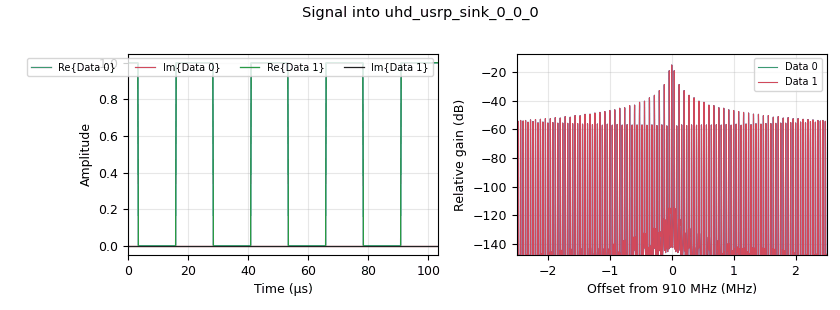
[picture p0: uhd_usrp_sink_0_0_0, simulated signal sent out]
<?xml version='1.0' encoding='utf-8'?>
<?grc format='1' created='3.7.9'?>
<flow_graph>
<block>
<key>options</key>
<param><key>id</key><value>top_block</value></param>
<param><key>category</key><value>Custom</value></param>
<param><key>generate_options</key><value>qt_gui</value></param>
</block>
<block>
<key>variable</key>
<param><key>id</key><value>adc_rate</value></param>
<param><key>value</key><value>10e6</value></param>
</block>
<block>
<key>variable</key>
<param><key>id</key><value>dac_rate</value></param>
<param><key>value</key><value>5e6</value></param>
</block>
<block>
<key>variable</key>
<param><key>id</key><value>samp_rate</value></param>
<param><key>value</key><value>32000</value></param>
</block>
<block>
<key>variable</key>
<param><key>id</key><value>tx_gain</value></param>
<param><key>value</key><value>5</value></param>
</block>
<block>
<key>analog_sig_source_x</key>
<param><key>id</key><value>analog_sig_source_x_0_1_0</value></param>
<param><key>amp</key><value>1</value></param>
<param><key>freq</key><value>40000</value></param>
<param><key>offset</key><value>0</value></param>
<param><key>type</key><value>float</value></param>
<param><key>samp_rate</key><value>dac_rate</value></param>
<param><key>waveform</key><value>analog.GR_SQR_WAVE</value></param>
</block>
<block>
<key>blocks_float_to_complex</key>
<param><key>id</key><value>blocks_float_to_complex_0</value></param>
</block>
<block>
<key>uhd_usrp_sink</key>
<param><key>id</key><value>uhd_usrp_sink_0_0</value></param>
<param><key>ant0</key><value>TX/RX</value></param>
<param><key>center_freq0</key><value>910000000</value></param>
<param><key>norm_gain0</key><value>False</value></param>
<param><key>gain0</key><value>tx_gain</value></param>
<param><key>clock_rate</key><value>0.0</value></param>
<param><key>dev_addr</key><value>"addr=192.168.10.2"</value></param>
<param><key>dev_args</key><value>"recv_frame_size=256"</value></param>
<param><key>_enabled</key><value>0</value></param>
<param><key>type</key><value>fc32</value></param>
<param><key>clock_source0</key><value>mimo</value></param>
<param><key>time_source0</key><value>mimo</value></param>
<param><key>samp_rate</key><value>dac_rate</value></param>
<param><key>hide_cmd_port</key><value>False</value></param>
<param><key>sync</key><value>pc_clock</value></param>
<param><key>len_tag_name</key><value></value></param>
</block>
<block>
<key>uhd_usrp_sink</key>
<param><key>id</key><value>uhd_usrp_sink_0_0_0</value></param>
<param><key>ant0</key><value>TX/RX</value></param>
<param><key>center_freq0</key><value>910000000</value></param>
<param><key>norm_gain0</key><value>False</value></param>
<param><key>gain0</key><value>tx_gain</value></param>
<param><key>ant1</key><value>TX/RX</value></param>
<param><key>center_freq1</key><value>910000000</value></param>
<param><key>norm_gain1</key><value>False</value></param>
<param><key>gain1</key><value>tx_gain</value></param>
<param><key>clock_rate</key><value>0.0</value></param>
<param><key>dev_addr</key><value>" addr0=192.168.20.2, addr1=192.168.10.2"</value></param>
<param><key>dev_args</key><value>"recv_frame_size=256"</value></param>
<param><key>type</key><value>fc32</value></param>
<param><key>clock_source1</key><value>mimo</value></param>
<param><key>time_source1</key><value>mimo</value></param>
<param><key>nchan</key><value>2</value></param>
<param><key>num_mboards</key><value>2</value></param>
<param><key>samp_rate</key><value>dac_rate</value></param>
<param><key>hide_cmd_port</key><value>False</value></param>
<param><key>sync</key><value>pc_clock</value></param>
<param><key>len_tag_name</key><value></value></param>
</block>
<connection><source_block_id>analog_sig_source_x_0_1_0</source_block_id><sink_block_id>blocks_float_to_complex_0</sink_block_id><source_key>0</source_key><sink_key>0</sink_key></connection>
<connection><source_block_id>blocks_float_to_complex_0</source_block_id><sink_block_id>uhd_usrp_sink_0_0</sink_block_id><source_key>0</source_key><sink_key>0</sink_key></connection>
<connection><source_block_id>blocks_float_to_complex_0</source_block_id><sink_block_id>uhd_usrp_sink_0_0_0</sink_block_id><source_key>0</source_key><sink_key>0</sink_key></connection>
<connection><source_block_id>blocks_float_to_complex_0</source_block_id><sink_block_id>uhd_usrp_sink_0_0_0</sink_block_id><source_key>0</source_key><sink_key>1</sink_key></connection>
</flow_graph>
